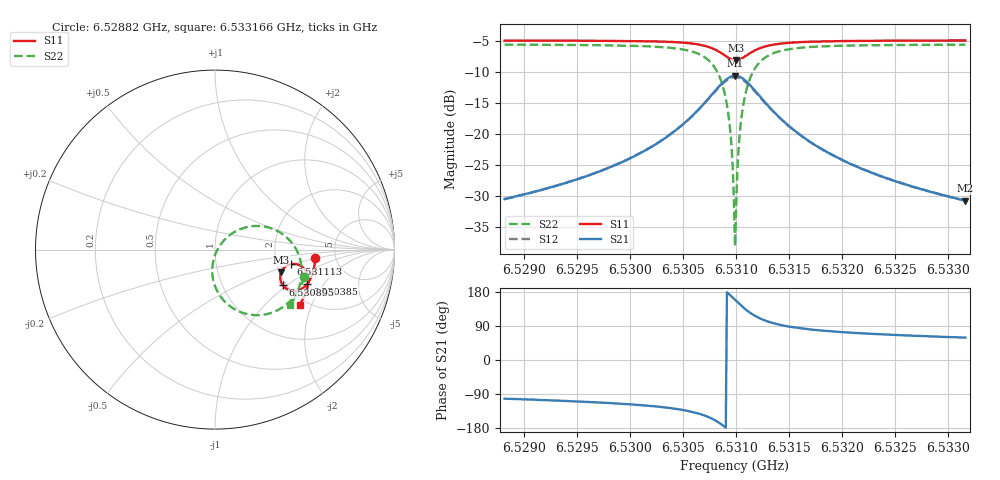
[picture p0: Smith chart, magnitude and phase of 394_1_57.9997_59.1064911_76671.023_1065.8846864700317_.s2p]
#  HZ  S  RI  R  50.00
! Rohde & Schwarz Vector Network Analyzer
! Rohde-Schwarz,ZNB20-2Port,1311601062101988,3.16
! Created: UTC 3/21/2024, 1:07:57 AM
! freq[Hz]  re:S11  im:S11  re:S21  im:S21  re:S12  im:S12  re:S22  im:S22
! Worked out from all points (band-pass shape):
!   401 points, 6.52882 GHz to 6.533166 GHz, reference 50 ohm
!   highest |S21| = -10.67 dB at 6.530993 GHz (marker M1); lowest = -30.8 dB at 6.533166 GHz (marker M2)
!   |S21| within 3 dB of the highest: 6.530777 GHz to 6.531212 GHz (434.4 kHz wide, 0.00665 % of centre)
!   lowest |S11| = -8.2 dB at 6.531004 GHz (marker M3), VSWR 2.28, Z = 102 - j30.4 ohm
!   |S11| at or under -10 dB: nowhere
!   |S22| runs from -38.1 to -5.7 dB; largest |S21 - S12| = 0.011
!   S11 on the Smith chart (normalised r, x): 6.52882 GHz: 3.48, -0.49; 6.530385 GHz: 2.56, -1.40; 6.530895 GHz: 1.92, -0.94; 6.531113 GHz: 2.41, -0.48; 6.533166 GHz: 1.82, -1.65
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6.5288204e9  0.5593 -0.0485  -0.00617 -0.029  -0.0068 -0.029  0.4982 -0.1516
6.5295482e9  0.5498 -0.1083  -0.0151 -0.0415  -0.016 -0.0412  0.4691 -0.218
6.5302761e9  0.5225 -0.1788  -0.047 -0.0711  -0.0489 -0.07  0.3918 -0.3106
6.5303847e9  0.5136 -0.1917  -0.0593 -0.079  -0.0616 -0.0774  0.3656 -0.3286
6.5307323e9  0.4473 -0.2298  -0.1611 -0.0953  -0.1631 -0.089  0.1734 -0.3582
6.5308301e9  0.4069 -0.2227  -0.2238 -0.0672  -0.2229 -0.0583  0.0673 -0.3019
6.5308953e9  0.3783 -0.1994  -0.2658 -0.0174  -0.2608 -0.00818  0.00325 -0.2114
6.5309388e9  0.3657 -0.1732  -0.2815 0.033  -0.2738 0.0405  -0.0155 -0.1251
6.5309605e9  0.3635 -0.1577  -0.2825 0.0616  -0.2735 0.0678  -0.0123 -0.0775
6.5309713e9  0.3636 -0.1496  -0.2807 0.0763  -0.2714 0.0815  -0.0073 -0.0536
6.5309822e9  0.3645 -0.1416  -0.2778 0.0907  -0.2682 0.0952  7.08e-05 -0.0301
6.5309931e9  0.3664 -0.1337  -0.2733 0.1049  -0.2634 0.1087  0.00981 -0.00755
6.5310039e9  0.369 -0.1259  -0.2672 0.1189  -0.2573 0.1214  0.0217 0.0141
6.5310148e9  0.3726 -0.1187  -0.26 0.1318  -0.2501 0.1336  0.0358 0.0345
6.5310474e9  0.3872 -0.0999  -0.2319 0.165  -0.2228 0.1644  0.0873 0.0847
6.53108e9  0.4056 -0.0872  -0.198 0.1875  -0.1904 0.1854  0.147 0.1164
6.5311126e9  0.425 -0.0809  -0.1627 0.1992  -0.1571 0.1965  0.207 0.1305
6.5311886e9  0.4642 -0.0844  -0.0939 0.1972  -0.0909 0.1946  0.323 0.115
6.5312973e9  0.4974 -0.1072  -0.0358 0.1668  -0.0343 0.1655  0.4178 0.05
6.5317209e9  0.5192 -0.1833  0.0143 0.0822  0.0154 0.0822  0.483 -0.1288
6.5324488e9  0.4993 -0.2556  0.017 0.0395  0.0176 0.0393  0.4556 -0.2448
6.5331658e9  0.4714 -0.3083  0.0149 0.0247  0.0154 0.0245  0.4205 -0.3067
